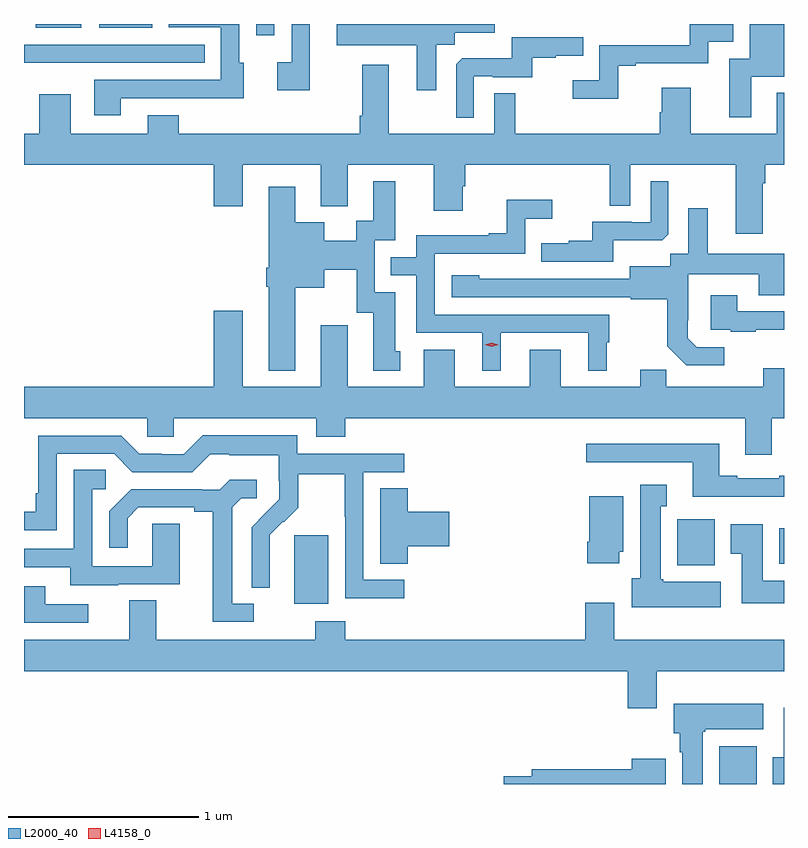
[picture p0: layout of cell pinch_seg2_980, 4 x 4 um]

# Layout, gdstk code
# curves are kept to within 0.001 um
import gdstk
lib = gdstk.Library(unit=1e-6, precision=1e-09)
def R(c, l, rs):  # rectangles x0, y0, x1, y1
    for r in rs: c.add(gdstk.rectangle(r[:2], r[2:], *l))
def P(c, l, *ps):  # polygons
    for p in ps: c.add(gdstk.Polygon(p, *l))
L2000_40 = (2000, 40)
L4158_0 = (4158, 0)

pinch_seg2_980 = lib.new_cell('pinch_seg2_980')
R(pinch_seg2_980, L2000_40, [(207.098,653.702,207.295,653.902), (204.86,654.65,205.039,655.011), (206.876,654.854,207.073,655.096), (207.413,654.86,207.438,655.048), (204.66,657.642,204.756,657.702), (203.501,657.683,203.74,657.702), (203.834,657.683,204.112,657.702)])
P(pinch_seg2_980, L2000_40, [(205.609,657.592),(205.704,657.592),(205.704,657.656),(205.915,657.656),(205.915,657.702),(205.608,657.702),(205.608,657.7),(205.237,657.7),(205.237,657.702),(205.085,657.702),(205.085,657.59),(205.505,657.59),(205.505,657.354),(205.609,657.354)],
  [(206.565,657.483),(206.659,657.483),(206.659,657.495),(207.039,657.495),(207.039,657.609),(207.172,657.609),(207.172,657.702),(206.943,657.702),(206.943,657.591),(206.466,657.591),(206.466,657.406),(206.325,657.406),(206.325,657.308),(206.565,657.308)],
  [(203.947,657.312),(204.377,657.312),(204.377,657.311),(204.595,657.311),(204.595,657.498),(204.57,657.498),(204.57,657.702),(204.201,657.702),(204.201,657.684),(204.474,657.684),(204.474,657.408),(203.807,657.408),(203.807,657.222),(203.947,657.222)],
  [(204.943,657.702),(204.846,657.702),(204.846,657.502),(204.771,657.502),(204.771,657.354),(204.943,657.354)],
  [(207.265,657.425),(207.438,657.425),(207.438,657.702),(207.258,657.702),(207.258,657.519),(207.149,657.519),(207.149,657.21),(207.265,657.21)],
  [(205.806,657.426),(205.906,657.426),(205.906,657.423),(206.114,657.423),(206.114,657.525),(206.237,657.525),(206.237,657.536),(206.381,657.536),(206.381,657.633),(206.004,657.633),(206.004,657.521),(205.745,657.521),(205.713,657.489),(205.713,657.209),(205.806,657.209)],
  [(203.711,657.498),(204.389,657.498),(204.389,657.594),(203.438,657.594),(203.438,657.497),(203.711,657.497)],
  [(207.325,656.864),(207.338,656.864),(207.338,656.96),(207.438,656.96),(207.438,657.34),(207.401,657.34),(207.401,657.124),(206.947,657.124),(206.947,657.367),(206.795,657.367),(206.795,657.237),(206.783,657.237),(206.783,657.124),(206.023,657.124),(206.023,657.338),(205.914,657.338),(205.914,657.124),(205.357,657.124),(205.357,657.487),(205.217,657.487),(205.217,657.22),(205.205,657.22),(205.205,657.124),(204.253,657.124),(204.253,657.223),(204.089,657.223),(204.089,657.124),(203.683,657.124),(203.683,657.331),(203.519,657.331),(203.519,657.124),(203.438,657.124),(203.438,656.96),(204.437,656.96),(204.437,656.742),(204.589,656.742),(204.589,656.96),(205.001,656.96),(205.001,656.744),(205.141,656.744),(205.141,656.96),(205.595,656.96),(205.595,656.718),(205.747,656.718),(205.747,656.847),(205.76,656.847),(205.76,656.96),(206.52,656.96),(206.52,656.746),(206.628,656.746),(206.628,656.96),(207.185,656.96),(207.185,656.598),(207.325,656.598)],
  [(204.865,656.315),(205.018,656.315),(205.018,656.408),(205.188,656.408),(205.188,656.181),(205.277,656.181),(205.277,655.878),(205.417,655.878),(205.417,655.98),(205.393,655.98),(205.393,656.289),(205.284,656.289),(205.284,656.565),(205.393,656.565),(205.393,656.875),(205.277,656.875),(205.277,656.666),(205.187,656.666),(205.187,656.56),(205.018,656.56),(205.018,656.659),(204.865,656.659),(204.865,656.845),(204.725,656.845),(204.725,656.419),(204.713,656.419),(204.713,656.319),(204.725,656.319),(204.725,655.877),(204.865,655.877)],
  [(206.539,656.564),(206.797,656.564),(206.829,656.595),(206.829,656.875),(206.736,656.875),(206.736,656.658),(206.636,656.658),(206.636,656.661),(206.429,656.661),(206.429,656.56),(206.305,656.56),(206.305,656.548),(206.161,656.548),(206.161,656.451),(206.539,656.451)],
  [(205.948,656.076),(206.408,656.076),(206.408,655.877),(206.506,655.877),(206.506,656.028),(206.518,656.028),(206.518,656.172),(205.599,656.172),(205.599,656.493),(206.076,656.493),(206.076,656.678),(206.218,656.678),(206.218,656.777),(205.978,656.777),(205.978,656.602),(205.883,656.602),(205.883,656.589),(205.503,656.589),(205.503,656.475),(205.369,656.475),(205.369,656.379),(205.503,656.379),(205.503,656.076),(205.85,656.076),(205.85,655.877),(205.948,655.877)],
  [(207.124,656.001),(206.979,656.001),(206.932,656.048),(206.932,656.143),(206.934,656.143),(206.934,656.384),(207.305,656.384),(207.305,656.275),(207.438,656.275),(207.438,656.494),(207.037,656.494),(207.037,656.731),(206.933,656.731),(206.933,656.492),(206.838,656.492),(206.838,656.428),(206.627,656.428),(206.627,656.361),(205.833,656.362),(205.833,656.38),(205.689,656.38),(205.689,656.265),(206.631,656.265),(206.631,656.253),(206.823,656.253),(206.823,656.007),(206.923,655.907),(207.124,655.907)],
  [(207.289,656.093),(207.438,656.093),(207.438,656.19),(207.193,656.19),(207.193,656.275),(207.053,656.275),(207.053,656.094),(207.157,656.094),(207.157,656.082),(207.289,656.082)],
  [(207.373,655.628),(207.438,655.628),(207.438,655.891),(207.329,655.891),(207.329,655.792),(206.819,655.792),(206.819,655.883),(206.681,655.883),(206.681,655.792),(206.263,655.792),(206.263,655.987),(206.099,655.987),(206.099,655.792),(205.705,655.792),(205.705,655.987),(205.541,655.987),(205.541,655.792),(205.141,655.792),(205.141,656.116),(205.001,656.116),(205.001,655.792),(204.589,655.792),(204.589,656.194),(204.437,656.194),(204.437,655.792),(203.438,655.792),(203.438,655.628),(204.087,655.628),(204.087,655.53),(204.225,655.53),(204.225,655.628),(204.977,655.628),(204.977,655.529),(205.13,655.529),(205.13,655.628),(207.233,655.628),(207.233,655.434),(207.373,655.434)],
  [(205.438,654.777),(205.224,654.777),(205.224,655.344),(205.438,655.344),(205.438,655.44),(204.876,655.44),(204.876,655.537),(204.379,655.537),(204.279,655.437),(204.164,655.437),(204.164,655.44),(204.045,655.44),(203.949,655.536),(203.514,655.536),(203.514,655.231),(203.501,655.231),(203.501,655.134),(203.438,655.134),(203.438,655.038),(203.61,655.038),(203.61,655.44),(203.913,655.44),(204.009,655.344),(204.324,655.344),(204.417,655.437),(204.517,655.437),(204.517,655.433),(204.78,655.433),(204.78,655.299),(204.782,655.299),(204.782,655.202),(204.636,655.054),(204.636,654.736),(204.732,654.736),(204.731,655.013),(204.801,655.083),(204.804,655.08),(204.881,655.157),(204.881,655.332),(205.126,655.332),(205.126,655.108),(205.128,655.108),(205.128,654.679),(205.438,654.679)],
  [(207.438,655.324),(207.413,655.324),(207.413,655.311),(207.193,655.311),(207.193,655.324),(207.097,655.324),(207.097,655.492),(206.397,655.492),(206.397,655.395),(206.957,655.395),(206.957,655.214),(207.438,655.214)],
  [(203.935,654.753),(204.259,654.753),(204.259,655.073),(204.114,655.073),(204.114,654.849),(203.796,654.849),(203.796,655.254),(203.869,655.254),(203.869,655.355),(203.7,655.355),(203.7,654.939),(203.438,654.939),(203.438,654.843),(203.681,654.843),(203.681,654.749),(203.935,654.749)],
  [(204.646,654.651),(204.535,654.651),(204.535,655.159),(204.582,655.206),(204.664,655.206),(204.664,655.303),(204.52,655.303),(204.468,655.251),(204.374,655.251),(204.374,655.254),(204.002,655.254),(203.886,655.138),(203.886,654.945),(203.983,654.945),(203.983,655.101),(204.04,655.158),(204.335,655.158),(204.335,655.136),(204.431,655.136),(204.431,654.555),(204.646,654.555)],
  [(207.106,654.766),(206.802,654.766),(206.802,654.78),(206.788,654.78),(206.788,655.163),(206.821,655.163),(206.821,655.276),(206.681,655.276),(206.681,654.786),(206.636,654.786),(206.636,654.632),(207.106,654.632)],
  [(205.457,654.953),(205.675,654.953),(205.675,655.136),(205.457,655.136),(205.457,655.259),(205.313,655.259),(205.313,654.862),(205.457,654.862)],
  [(206.572,654.924),(206.593,654.924),(206.593,655.216),(206.414,655.216),(206.414,654.976),(206.402,654.976),(206.402,654.864),(206.572,654.864)],
  [(207.438,654.772),(207.325,654.772),(207.325,655.069),(207.158,655.069),(207.158,654.913),(207.215,654.913),(207.215,654.654),(207.438,654.654)],
  [(203.776,654.648),(203.551,654.648),(203.551,654.744),(203.438,654.744),(203.438,654.552),(203.776,654.552)],
  [(204.97,654.559),(204.97,654.46),(204.133,654.46),(204.133,654.668),(203.993,654.668),(203.993,654.46),(203.438,654.46),(203.438,654.296),(206.615,654.296),(206.615,654.102),(206.767,654.102),(206.767,654.296),(207.438,654.296),(207.438,654.46),(206.545,654.46),(206.545,654.655),(206.393,654.655),(206.393,654.46),(205.13,654.46),(205.13,654.559)],
  [(207.01,653.977),(207.024,653.977),(207.024,653.99),(207.328,653.99),(207.328,654.124),(206.858,654.124),(206.858,653.97),(206.888,653.97),(206.888,653.87),(206.903,653.87),(206.903,653.702),(207.01,653.702)],
  [(207.438,654.103),(207.437,654.103),(207.437,653.844),(207.38,653.844),(207.38,653.702),(207.438,653.702)],
  [(206.815,653.836),(206.636,653.836),(206.636,653.78),(206.111,653.78),(206.111,653.744),(205.962,653.744),(205.962,653.702),(206.815,653.702)])
P(pinch_seg2_980, L4158_0, [(205.899,656.004),(205.864,656.013),(205.864,656.013),(205.864,656.013),(205.899,656.024),(205.934,656.015),(205.935,656.015),(205.934,656.014)])

lib.write_gds('pinch_seg2_980.gds')
